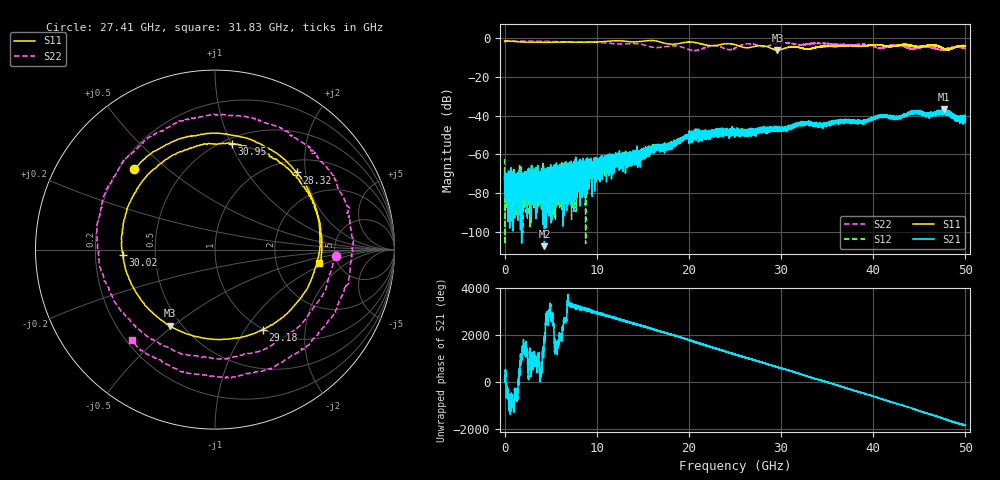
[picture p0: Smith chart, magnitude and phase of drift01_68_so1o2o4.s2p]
!Created with skrf (http://scikit-rf.org).
# Hz S RI R 50.0
!freq ReS11 ImS11 ReS21 ImS21 ReS12 ImS12 ReS22 ImS22
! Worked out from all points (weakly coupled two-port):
!   10001 points, 300 kHz to 50 GHz, reference 50 ohm
!   highest |S21| = -36.58 dB at 47.64 GHz (marker M1); lowest = -107.4 dB at 4.325 GHz (marker M2)
!   lowest |S11| = -6.1 dB at 29.61 GHz (marker M3), VSWR 2.94, Z = 21.7 - j24.3 ohm
!   |S11| at or under -10 dB: nowhere
!   |S22| runs from -6.4 to -1.4 dB; largest |S21 - S12| = 0.0038
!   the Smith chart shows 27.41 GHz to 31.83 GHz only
!   S11 on the Smith chart (normalised r, x): 27.41 GHz: 0.26, +0.39; 28.32 GHz: 1.26, +1.79; 29.18 GHz: 0.99, -1.21; 30.02 GHz: 0.32, -0.03; 30.95 GHz: 0.55, +1.01; 31.83 GHz: 3.60, -0.83
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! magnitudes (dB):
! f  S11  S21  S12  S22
! 300 kHz  -1.3  -71.7  -62.3  -2.2
! 245.3 MHz  -1.4  -81.8  -78.4  -1.4
! 360.3 MHz  -1.4  -77.4  -76.5  -1.4
! 4.325 GHz  -2.1  -107.4  -75.6  -1.5
! 8.335 GHz  -2.0  -66.2  -65.0  -1.8
! 16.67 GHz  -1.6  -56.6  -56.4  -4.8
! 18.62 GHz  -2.9  -54.6  -53.7  -3.9
! 20.44 GHz  -2.0  -49.7  -50.3  -6.2
! 22.62 GHz  -3.8  -50.6  -49.8  -3.8
! 25 GHz  -3.3  -47.8  -49.0  -5.0
! 27.41 GHz  -3.9  -47.0  -49.3  -3.4
! 28.32 GHz  -4.1  -46.6  -46.8  -4.3
! 29.18 GHz  -5.7  -47.3  -46.4  -3.0
! 29.61 GHz  -6.1  -46.4  -46.8  -2.6
! 30.02 GHz  -5.8  -46.8  -46.7  -2.3
! 30.95 GHz  -4.5  -46.0  -46.5  -2.5
! 31.83 GHz  -4.7  -44.2  -44.6  -3.3
! 33.34 GHz  -5.2  -44.8  -44.0  -2.7
! 41.67 GHz  -4.3  -40.0  -40.5  -4.1
! 46.49 GHz  -3.4  -38.9  -38.3  -4.5
! 47.64 GHz  -5.5  -36.6  -38.0  -5.8
! 50 GHz  -3.8  -41.7  -41.5  -5.2
